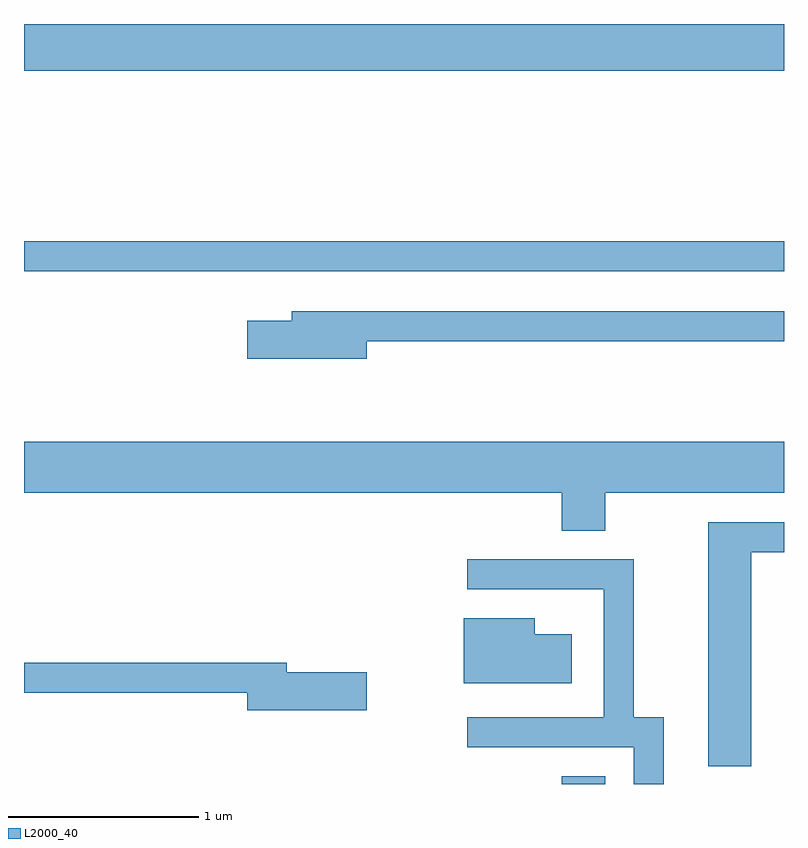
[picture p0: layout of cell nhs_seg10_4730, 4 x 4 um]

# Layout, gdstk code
import gdstk
lib = gdstk.Library(unit=1e-6, precision=1e-09)
def R(c, l, rs):  # rectangles x0, y0, x1, y1
    for r in rs: c.add(gdstk.rectangle(r[:2], r[2:], *l))
def P(c, l, *ps):  # polygons
    for p in ps: c.add(gdstk.Polygon(p, *l))
L2000_40 = (2000, 40)

nhs_seg10_4730 = lib.new_cell('nhs_seg10_4730')
R(nhs_seg10_4730, L2000_40, [(326.441,2194.522,326.669,2194.564), (323.611,2197.221,327.611,2197.379), (323.611,2198.276,327.611,2198.522)])
P(nhs_seg10_4730, L2000_40, [(325.414,2196.851),(327.611,2196.851),(327.611,2197.009),(325.021,2197.009),(325.021,2196.959),(324.786,2196.959),(324.786,2196.761),(325.414,2196.761)],
  [(326.669,2196.056),(327.611,2196.056),(327.611,2196.324),(323.611,2196.324),(323.611,2196.056),(326.441,2196.056),(326.441,2195.856),(326.669,2195.856)],
  [(327.439,2195.741),(327.611,2195.741),(327.611,2195.899),(327.211,2195.899),(327.211,2194.616),(327.439,2194.616)],
  [(326.979,2194.874),(326.819,2194.874),(326.819,2195.704),(325.943,2195.704),(325.943,2195.546),(326.661,2195.546),(326.661,2194.874),(325.943,2194.874),(325.943,2194.716),(326.821,2194.716),(326.821,2194.522),(326.979,2194.522)],
  [(326.494,2195.309),(326.299,2195.309),(326.299,2195.394),(325.926,2195.394),(325.926,2195.051),(326.494,2195.051)],
  [(325.414,2195.109),(324.994,2195.109),(324.994,2195.159),(323.611,2195.159),(323.611,2195.001),(324.786,2195.001),(324.786,2194.911),(325.414,2194.911)])

lib.write_gds('nhs_seg10_4730.gds')
